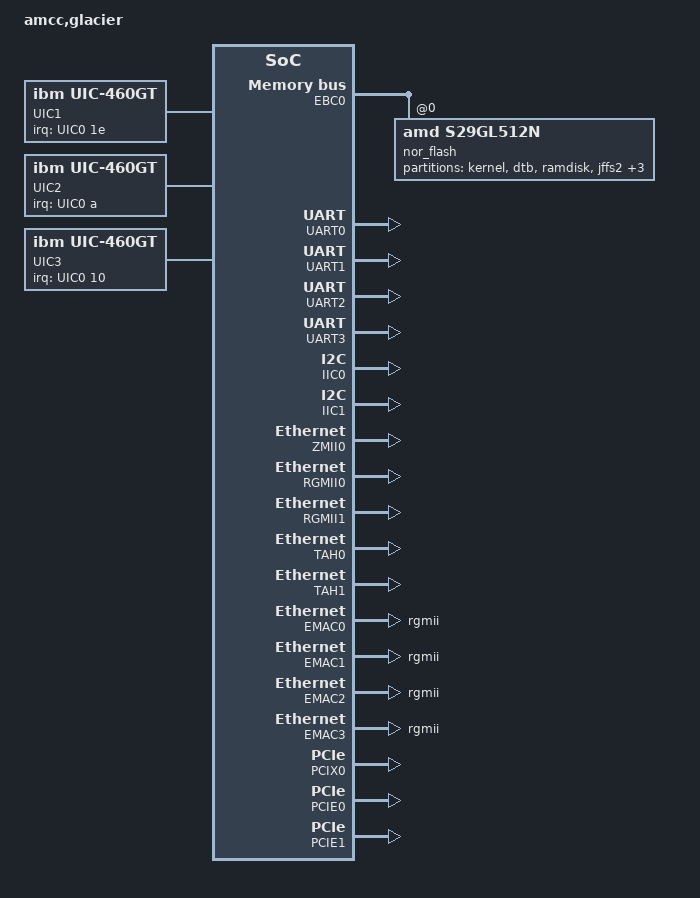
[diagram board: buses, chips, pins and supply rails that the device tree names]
/*
 * Device Tree Source for AMCC Glacier (460GT)
 *
 * Copyright 2008 DENX Software Engineering, Stefan Roese <sr@denx.de>
 *
 * This file is licensed under the terms of the GNU General Public
 * License version 2.  This program is licensed "as is" without
 * any warranty of any kind, whether express or implied.
 */

/ {
	#address-cells = <2>;
	#size-cells = <1>;
	model = "amcc,glacier";
	compatible = "amcc,glacier", "amcc,canyonlands";
	dcr-parent = <&/cpus/cpu@0>;

	aliases {
		ethernet0 = &EMAC0;
		ethernet1 = &EMAC1;
		ethernet2 = &EMAC2;
		ethernet3 = &EMAC3;
		serial0 = &UART0;
		serial1 = &UART1;
	};

	cpus {
		#address-cells = <1>;
		#size-cells = <0>;

		cpu@0 {
			device_type = "cpu";
			model = "PowerPC,460GT";
			reg = <0>;
			clock-frequency = <0>; /* Filled in by U-Boot */
			timebase-frequency = <0>; /* Filled in by U-Boot */
			i-cache-line-size = <20>;
			d-cache-line-size = <20>;
			i-cache-size = <8000>;
			d-cache-size = <8000>;
			dcr-controller;
			dcr-access-method = "native";
		};
	};

	memory {
		device_type = "memory";
		reg = <0 0 0>; /* Filled in by U-Boot */
	};

	UIC0: interrupt-controller0 {
		compatible = "ibm,uic-460gt","ibm,uic";
		interrupt-controller;
		cell-index = <0>;
		dcr-reg = <0c0 009>;
		#address-cells = <0>;
		#size-cells = <0>;
		#interrupt-cells = <2>;
	};

	UIC1: interrupt-controller1 {
		compatible = "ibm,uic-460gt","ibm,uic";
		interrupt-controller;
		cell-index = <1>;
		dcr-reg = <0d0 009>;
		#address-cells = <0>;
		#size-cells = <0>;
		#interrupt-cells = <2>;
		interrupts = <1e 4 1f 4>; /* cascade */
		interrupt-parent = <&UIC0>;
	};

	UIC2: interrupt-controller2 {
		compatible = "ibm,uic-460gt","ibm,uic";
		interrupt-controller;
		cell-index = <2>;
		dcr-reg = <0e0 009>;
		#address-cells = <0>;
		#size-cells = <0>;
		#interrupt-cells = <2>;
		interrupts = <a 4 b 4>; /* cascade */
		interrupt-parent = <&UIC0>;
	};

	UIC3: interrupt-controller3 {
		compatible = "ibm,uic-460gt","ibm,uic";
		interrupt-controller;
		cell-index = <3>;
		dcr-reg = <0f0 009>;
		#address-cells = <0>;
		#size-cells = <0>;
		#interrupt-cells = <2>;
		interrupts = <10 4 11 4>; /* cascade */
		interrupt-parent = <&UIC0>;
	};

	SDR0: sdr {
		compatible = "ibm,sdr-460gt";
		dcr-reg = <00e 002>;
	};

	CPR0: cpr {
		compatible = "ibm,cpr-460gt";
		dcr-reg = <00c 002>;
	};

	plb {
		compatible = "ibm,plb-460gt", "ibm,plb4";
		#address-cells = <2>;
		#size-cells = <1>;
		ranges;
		clock-frequency = <0>; /* Filled in by U-Boot */

		SDRAM0: sdram {
			compatible = "ibm,sdram-460gt", "ibm,sdram-405gp";
			dcr-reg = <010 2>;
		};

		MAL0: mcmal {
			compatible = "ibm,mcmal-460gt", "ibm,mcmal2";
			dcr-reg = <180 62>;
			num-tx-chans = <4>;
			num-rx-chans = <20>;
			#address-cells = <0>;
			#size-cells = <0>;
			interrupt-parent = <&UIC2>;
			interrupts = <	/*TXEOB*/ 6 4
					/*RXEOB*/ 7 4
					/*SERR*/  3 4
					/*TXDE*/  4 4
					/*RXDE*/  5 4>;
			desc-base-addr-high = <8>;
		};

		POB0: opb {
			compatible = "ibm,opb-460gt", "ibm,opb";
			#address-cells = <1>;
			#size-cells = <1>;
			ranges = <b0000000 4 b0000000 50000000>;
			clock-frequency = <0>; /* Filled in by U-Boot */

			EBC0: ebc {
				compatible = "ibm,ebc-460gt", "ibm,ebc";
				dcr-reg = <012 2>;
				#address-cells = <2>;
				#size-cells = <1>;
				clock-frequency = <0>; /* Filled in by U-Boot */
				/* ranges property is supplied by U-Boot */
				interrupts = <6 4>;
				interrupt-parent = <&UIC1>;

				nor_flash@0,0 {
					compatible = "amd,s29gl512n", "cfi-flash";
					bank-width = <2>;
					reg = <0 000000 4000000>;
					#address-cells = <1>;
					#size-cells = <1>;
					partition@0 {
						label = "kernel";
						reg = <0 1e0000>;
					};
					partition@1e0000 {
						label = "dtb";
						reg = <1e0000 20000>;
					};
					partition@200000 {
						label = "ramdisk";
						reg = <200000 1400000>;
					};
					partition@1600000 {
						label = "jffs2";
						reg = <1600000 400000>;
					};
					partition@1a00000 {
						label = "user";
						reg = <1a00000 2560000>;
					};
					partition@3f60000 {
						label = "env";
						reg = <3f60000 40000>;
					};
					partition@3fa0000 {
						label = "u-boot";
						reg = <3fa0000 60000>;
					};
				};
			};

			UART0: serial@ef600300 {
				device_type = "serial";
				compatible = "ns16550";
				reg = <ef600300 8>;
				virtual-reg = <ef600300>;
				clock-frequency = <0>; /* Filled in by U-Boot */
				current-speed = <0>; /* Filled in by U-Boot */
				interrupt-parent = <&UIC1>;
				interrupts = <1 4>;
			};

			UART1: serial@ef600400 {
				device_type = "serial";
				compatible = "ns16550";
				reg = <ef600400 8>;
				virtual-reg = <ef600400>;
				clock-frequency = <0>; /* Filled in by U-Boot */
				current-speed = <0>; /* Filled in by U-Boot */
				interrupt-parent = <&UIC0>;
				interrupts = <1 4>;
			};

			UART2: serial@ef600500 {
				device_type = "serial";
				compatible = "ns16550";
				reg = <ef600500 8>;
				virtual-reg = <ef600500>;
				clock-frequency = <0>; /* Filled in by U-Boot */
				current-speed = <0>; /* Filled in by U-Boot */
				interrupt-parent = <&UIC1>;
				interrupts = <1d 4>;
			};

			UART3: serial@ef600600 {
				device_type = "serial";
				compatible = "ns16550";
				reg = <ef600600 8>;
				virtual-reg = <ef600600>;
				clock-frequency = <0>; /* Filled in by U-Boot */
				current-speed = <0>; /* Filled in by U-Boot */
				interrupt-parent = <&UIC1>;
				interrupts = <1e 4>;
			};

			IIC0: i2c@ef600700 {
				compatible = "ibm,iic-460gt", "ibm,iic";
				reg = <ef600700 14>;
				interrupt-parent = <&UIC0>;
				interrupts = <2 4>;
			};

			IIC1: i2c@ef600800 {
				compatible = "ibm,iic-460gt", "ibm,iic";
				reg = <ef600800 14>;
				interrupt-parent = <&UIC0>;
				interrupts = <3 4>;
			};

			ZMII0: emac-zmii@ef600d00 {
				compatible = "ibm,zmii-460gt", "ibm,zmii";
				reg = <ef600d00 c>;
			};

			RGMII0: emac-rgmii@ef601500 {
				compatible = "ibm,rgmii-460gt", "ibm,rgmii";
				reg = <ef601500 8>;
				has-mdio;
			};

			RGMII1: emac-rgmii@ef601600 {
				compatible = "ibm,rgmii-460gt", "ibm,rgmii";
				reg = <ef601600 8>;
				has-mdio;
			};

			TAH0: emac-tah@ef601350 {
				compatible = "ibm,tah-460gt", "ibm,tah";
				reg = <ef601350 30>;
			};

			TAH1: emac-tah@ef601450 {
				compatible = "ibm,tah-460gt", "ibm,tah";
				reg = <ef601450 30>;
			};

			EMAC0: ethernet@ef600e00 {
				device_type = "network";
				compatible = "ibm,emac-460gt", "ibm,emac4";
				interrupt-parent = <&EMAC0>;
				interrupts = <0 1>;
				#interrupt-cells = <1>;
				#address-cells = <0>;
				#size-cells = <0>;
				interrupt-map = </*Status*/ 0 &UIC2 10 4
						 /*Wake*/   1 &UIC2 14 4>;
				reg = <ef600e00 70>;
				local-mac-address = [000000000000]; /* Filled in by U-Boot */
				mal-device = <&MAL0>;
				mal-tx-channel = <0>;
				mal-rx-channel = <0>;
				cell-index = <0>;
				max-frame-size = <2328>;
				rx-fifo-size = <1000>;
				tx-fifo-size = <800>;
				phy-mode = "rgmii";
				phy-map = <00000000>;
				rgmii-device = <&RGMII0>;
				rgmii-channel = <0>;
				tah-device = <&TAH0>;
				tah-channel = <0>;
				has-inverted-stacr-oc;
				has-new-stacr-staopc;
			};

			EMAC1: ethernet@ef600f00 {
				device_type = "network";
				compatible = "ibm,emac-460gt", "ibm,emac4";
				interrupt-parent = <&EMAC1>;
				interrupts = <0 1>;
				#interrupt-cells = <1>;
				#address-cells = <0>;
				#size-cells = <0>;
				interrupt-map = </*Status*/ 0 &UIC2 11 4
						 /*Wake*/   1 &UIC2 15 4>;
				reg = <ef600f00 70>;
				local-mac-address = [000000000000]; /* Filled in by U-Boot */
				mal-device = <&MAL0>;
				mal-tx-channel = <1>;
				mal-rx-channel = <8>;
				cell-index = <1>;
				max-frame-size = <2328>;
				rx-fifo-size = <1000>;
				tx-fifo-size = <800>;
				phy-mode = "rgmii";
				phy-map = <00000000>;
				rgmii-device = <&RGMII0>;
				rgmii-channel = <1>;
				tah-device = <&TAH1>;
				tah-channel = <1>;
				has-inverted-stacr-oc;
				has-new-stacr-staopc;
				mdio-device = <&EMAC0>;
			};

			EMAC2: ethernet@ef601100 {
				device_type = "network";
				compatible = "ibm,emac-460gt", "ibm,emac4";
				interrupt-parent = <&EMAC2>;
				interrupts = <0 1>;
				#interrupt-cells = <1>;
				#address-cells = <0>;
				#size-cells = <0>;
				interrupt-map = </*Status*/ 0 &UIC2 12 4
						 /*Wake*/   1 &UIC2 16 4>;
				reg = <ef601100 70>;
				local-mac-address = [000000000000]; /* Filled in by U-Boot */
				mal-device = <&MAL0>;
				mal-tx-channel = <2>;
				mal-rx-channel = <10>;
				cell-index = <2>;
				max-frame-size = <2328>;
				rx-fifo-size = <1000>;
				tx-fifo-size = <800>;
				phy-mode = "rgmii";
				phy-map = <00000000>;
				rgmii-device = <&RGMII1>;
				rgmii-channel = <0>;
				has-inverted-stacr-oc;
				has-new-stacr-staopc;
				mdio-device = <&EMAC0>;
			};

			EMAC3: ethernet@ef601200 {
				device_type = "network";
				compatible = "ibm,emac-460gt", "ibm,emac4";
				interrupt-parent = <&EMAC3>;
				interrupts = <0 1>;
				#interrupt-cells = <1>;
				#address-cells = <0>;
				#size-cells = <0>;
				interrupt-map = </*Status*/ 0 &UIC2 13 4
						 /*Wake*/   1 &UIC2 17 4>;
				reg = <ef601200 70>;
				local-mac-address = [000000000000]; /* Filled in by U-Boot */
				mal-device = <&MAL0>;
				mal-tx-channel = <3>;
				mal-rx-channel = <18>;
				cell-index = <3>;
				max-frame-size = <2328>;
				rx-fifo-size = <1000>;
				tx-fifo-size = <800>;
				phy-mode = "rgmii";
				phy-map = <00000000>;
				rgmii-device = <&RGMII1>;
				rgmii-channel = <1>;
				has-inverted-stacr-oc;
				has-new-stacr-staopc;
				mdio-device = <&EMAC0>;
			};
		};

		PCIX0: pci@c0ec00000 {
			device_type = "pci";
			#interrupt-cells = <1>;
			#size-cells = <2>;
			#address-cells = <3>;
			compatible = "ibm,plb-pcix-460gt", "ibm,plb-pcix";
			primary;
			large-inbound-windows;
			enable-msi-hole;
			reg = <c 0ec00000   8	/* Config space access */
			       0 0 0		/* no IACK cycles */
			       c 0ed00000   4   /* Special cycles */
			       c 0ec80000 100	/* Internal registers */
			       c 0ec80100  fc>;	/* Internal messaging registers */

			/* Outbound ranges, one memory and one IO,
			 * later cannot be changed
			 */
			ranges = <02000000 0 80000000 0000000d 80000000 0 80000000
				  01000000 0 00000000 0000000c 08000000 0 00010000>;

			/* Inbound 2GB range starting at 0 */
			dma-ranges = <42000000 0 0 0 0 0 80000000>;

			/* This drives busses 0 to 0x3f */
			bus-range = <0 3f>;

			/* All PCI interrupts are routed to ext IRQ 2 -> UIC1-0 */
			interrupt-map-mask = <0000 0 0 0>;
			interrupt-map = < 0000 0 0 0 &UIC1 0 8 >;
		};

		PCIE0: pciex@d00000000 {
			device_type = "pci";
			#interrupt-cells = <1>;
			#size-cells = <2>;
			#address-cells = <3>;
			compatible = "ibm,plb-pciex-460ex", "ibm,plb-pciex";
			primary;
			port = <0>; /* port number */
			reg = <d 00000000 20000000	/* Config space access */
			       c 08010000 00001000>;	/* Registers */
			dcr-reg = <100 020>;
			sdr-base = <300>;

			/* Outbound ranges, one memory and one IO,
			 * later cannot be changed
			 */
			ranges = <02000000 0 80000000 0000000e 00000000 0 80000000
				  01000000 0 00000000 0000000f 80000000 0 00010000>;

			/* Inbound 2GB range starting at 0 */
			dma-ranges = <42000000 0 0 0 0 0 80000000>;

			/* This drives busses 40 to 0x7f */
			bus-range = <40 7f>;

			/* Legacy interrupts (note the weird polarity, the bridge seems
			 * to invert PCIe legacy interrupts).
			 * We are de-swizzling here because the numbers are actually for
			 * port of the root complex virtual P2P bridge. But I want
			 * to avoid putting a node for it in the tree, so the numbers
			 * below are basically de-swizzled numbers.
			 * The real slot is on idsel 0, so the swizzling is 1:1
			 */
			interrupt-map-mask = <0000 0 0 7>;
			interrupt-map = <
				0000 0 0 1 &UIC3 c 4 /* swizzled int A */
				0000 0 0 2 &UIC3 d 4 /* swizzled int B */
				0000 0 0 3 &UIC3 e 4 /* swizzled int C */
				0000 0 0 4 &UIC3 f 4 /* swizzled int D */>;
		};

		PCIE1: pciex@d20000000 {
			device_type = "pci";
			#interrupt-cells = <1>;
			#size-cells = <2>;
			#address-cells = <3>;
			compatible = "ibm,plb-pciex-460ex", "ibm,plb-pciex";
			primary;
			port = <1>; /* port number */
			reg = <d 20000000 20000000	/* Config space access */
			       c 08011000 00001000>;	/* Registers */
			dcr-reg = <120 020>;
			sdr-base = <340>;

			/* Outbound ranges, one memory and one IO,
			 * later cannot be changed
			 */
			ranges = <02000000 0 80000000 0000000e 80000000 0 80000000
				  01000000 0 00000000 0000000f 80010000 0 00010000>;

			/* Inbound 2GB range starting at 0 */
			dma-ranges = <42000000 0 0 0 0 0 80000000>;

			/* This drives busses 80 to 0xbf */
			bus-range = <80 bf>;

			/* Legacy interrupts (note the weird polarity, the bridge seems
			 * to invert PCIe legacy interrupts).
			 * We are de-swizzling here because the numbers are actually for
			 * port of the root complex virtual P2P bridge. But I want
			 * to avoid putting a node for it in the tree, so the numbers
			 * below are basically de-swizzled numbers.
			 * The real slot is on idsel 0, so the swizzling is 1:1
			 */
			interrupt-map-mask = <0000 0 0 7>;
			interrupt-map = <
				0000 0 0 1 &UIC3 10 4 /* swizzled int A */
				0000 0 0 2 &UIC3 11 4 /* swizzled int B */
				0000 0 0 3 &UIC3 12 4 /* swizzled int C */
				0000 0 0 4 &UIC3 13 4 /* swizzled int D */>;
		};
	};
};
